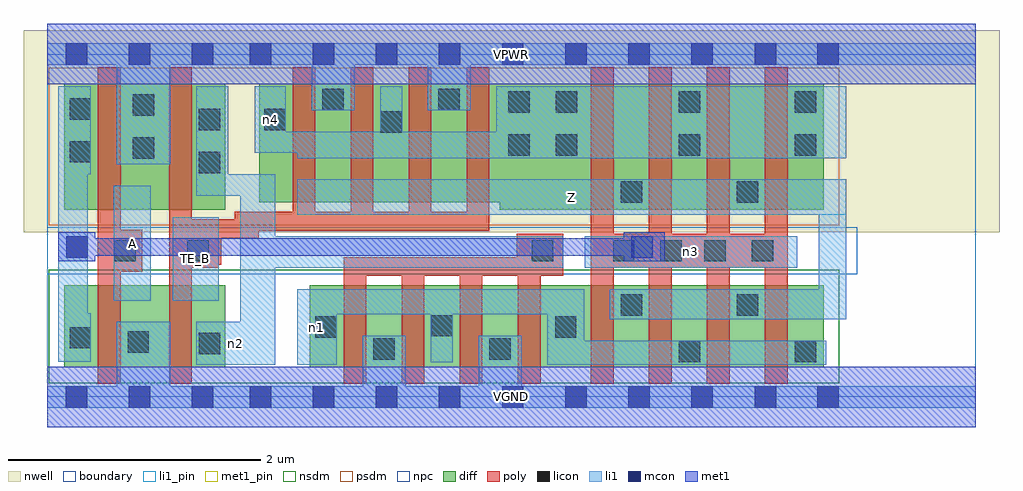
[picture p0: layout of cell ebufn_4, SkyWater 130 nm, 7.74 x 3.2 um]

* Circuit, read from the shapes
.subckt ebufn_4 A TE_B VGND VPWR Z n1 n2 n3 n4
XM1 VGND A n3 VSUBS sky130_fd_pr__nfet_01v8 w=0.65 l=0.18
XM2 n2 TE_B VGND VSUBS sky130_fd_pr__nfet_01v8 w=0.65 l=0.18
XM3 VGND n2 n1 VSUBS sky130_fd_pr__nfet_01v8 w=0.65 l=0.18 m=4
XM4 Z n3 n1 VSUBS sky130_fd_pr__nfet_01v8 w=0.65 l=0.18 m=4
XM5 VPWR A n3 n5 sky130_fd_pr__pfet_01v8 w=1 l=0.18
XM6 n2 TE_B VPWR n5 sky130_fd_pr__pfet_01v8 w=1 l=0.18
XM7 VPWR TE_B n4 n5 sky130_fd_pr__pfet_01v8 w=0.94 l=0.18 m=4
XM8 Z n3 n4 n5 sky130_fd_pr__pfet_01v8 w=1 l=0.18 m=4
.ends

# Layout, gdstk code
import gdstk
lib = gdstk.Library(unit=1e-6, precision=1e-09)
def R(c, l, rs):  # rectangles x0, y0, x1, y1
    for r in rs: c.add(gdstk.rectangle(r[:2], r[2:], *l))
def A(c, l, x, y, w, h, nx, ny, dx, dy):  # array of equal rectangles
    R(c, l, [(x+i*dx, y+j*dy, x+i*dx+w, y+j*dy+h) for i in range(nx) for j in range(ny)])
nwell = (64, 20)
diff = (65, 20)
poly = (66, 20)
licon = (66, 44)
li1_pin = (67, 16)
li1 = (67, 20)
mcon = (67, 44)
met1_pin = (68, 16)
met1 = (68, 20)
nsdm = (93, 44)
psdm = (94, 20)
npc = (95, 20)
boundary = (235, 4)

ebufn_4 = lib.new_cell('ebufn_4')
R(ebufn_4, nwell, [(-0.19,1.305,7.55,2.91), (0,1.305,7.36,2.91)])
R(ebufn_4, diff, [(0.135,0.235,1.41,0.885), (2.08,0.235,6.155,0.885), (0.135,1.485,1.41,2.485), (3.585,1.485,6.155,2.485), (1.68,1.545,6.155,2.485)])
A(ebufn_4, poly, 2.35, 0.105, 0.18, 1.005, 3, 1, 0.46, 0)
A(ebufn_4, poly, 4.31, 0.105, 0.18, 2.51, 4, 1, 0.46, 0)
A(ebufn_4, poly, 1.945, 1.32, 0.18, 1.295, 4, 1, 0.46, 0)
R(ebufn_4, poly, [(0.4,0.105,0.58,2.615), (0.965,0.105,1.145,2.615), (3.73,0.105,3.91,1.295), (2.35,0.96,4.09,1.11), (3.72,0.96,4.09,1.295), (0.4,0.995,0.75,1.325), (0.965,1.025,1.36,1.41), (4.31,1.025,5.87,1.295), (0.965,1.05,1.38,1.41), (0.965,1.26,1.675,1.41), (1.485,1.32,3.505,1.47)])
R(ebufn_4, licon, [(5.005,0.275,5.175,0.445), (5.925,0.275,6.095,0.445), (2.585,0.295,2.755,0.465), (3.505,0.295,3.675,0.465), (1.2,0.34,1.37,0.51), (0.635,0.35,0.805,0.52), (0.175,0.385,0.345,0.555), (2.125,0.47,2.295,0.64), (4.025,0.47,4.195,0.64), (3.045,0.48,3.215,0.65), (4.545,0.645,4.715,0.815), (5.465,0.645,5.635,0.815), (0.53,1.075,0.7,1.245), (1.11,1.075,1.28,1.245), (3.84,1.075,4.01,1.245), (4.485,1.075,4.655,1.245), (4.86,1.075,5.03,1.245), (5.21,1.075,5.38,1.245), (5.585,1.075,5.755,1.245), (4.545,1.54,4.715,1.71), (5.465,1.54,5.635,1.71), (1.2,1.775,1.37,1.945), (0.175,1.86,0.345,2.03), (0.675,1.89,0.845,2.06), (3.655,1.915,3.825,2.085), (4.03,1.915,4.2,2.085), (5.005,1.915,5.175,2.085), (5.925,1.915,6.095,2.085), (2.64,2.095,2.81,2.265), (1.2,2.115,1.37,2.285), (1.72,2.115,1.89,2.285), (0.175,2.2,0.345,2.37), (0.675,2.23,0.845,2.4), (3.655,2.255,3.825,2.425), (4.03,2.255,4.2,2.425), (5.005,2.255,5.175,2.425), (5.925,2.255,6.095,2.425), (2.18,2.275,2.35,2.445), (3.1,2.275,3.27,2.445)])
R(ebufn_4, li1_pin, [(0.525,0.765,0.82,1.675), (0.995,0.765,1.36,1.425), (1.98,1.445,6.335,1.725)])
R(ebufn_4, li1, [(0,-0.085,7.36,0.085), (0.55,-0.085,0.975,0.595), (2.5,-0.085,2.84,0.485), (3.42,-0.085,3.76,0.485), (1.18,0.255,1.805,0.595), (1.53,0.255,1.805,1.765), (1.98,0.255,2.295,0.855), (3.965,0.255,6.175,0.445), (3.965,0.255,4.255,0.855), (3.04,0.275,3.215,0.855), (0.085,0.28,0.32,2.465), (0.085,0.28,0.345,0.665), (4.46,0.615,6.335,0.855), (6.115,0.615,6.335,1.725), (1.98,0.655,4.255,0.855), (0.525,0.765,0.82,1.675), (0.995,0.765,1.36,1.425), (1.53,1.025,4.09,1.275), (4.26,1.025,5.945,1.275), (1.98,1.445,6.335,1.725), (1.18,1.595,1.435,2.465), (1.18,1.595,1.805,1.765), (0.085,1.765,0.345,2.465), (0.55,1.845,0.975,2.805), (1.98,1.895,6.335,2.105), (2.64,1.895,2.815,2.465), (3.56,1.895,6.335,2.465), (1.645,1.935,1.89,2.465), (1.645,1.935,6.335,2.105), (2.095,2.275,2.435,2.805), (3.015,2.275,3.355,2.805), (0,2.635,7.36,2.805)])
A(ebufn_4, mcon, 0.145, -0.085, 0.17, 0.17, 3, 2, 0.5, 2.72)
A(ebufn_4, mcon, 1.605, -0.085, 0.17, 0.17, 8, 2, 0.5, 2.72)
R(ebufn_4, mcon, [(5.61,-0.085,5.78,0.085), (6.105,-0.085,6.275,0.085), (0.15,1.105,0.32,1.275), (4.63,1.105,4.8,1.275), (5.61,2.635,5.78,2.805), (6.105,2.635,6.275,2.805)])
R(ebufn_4, met1_pin, [(0,-0.24,7.36,0.24), (0,2.48,7.36,2.96)])
R(ebufn_4, met1, [(0,-0.24,7.36,0.24), (0.085,1.075,0.38,1.305), (4.57,1.075,4.895,1.305), (0.085,1.12,4.895,1.26), (0,2.48,7.36,2.96)])
R(ebufn_4, nsdm, [(0.01,0.11,6.28,1.01)])
R(ebufn_4, psdm, [(0.01,1.36,6.28,2.61)])
R(ebufn_4, npc, [(0,0.975,6.42,1.345)])
R(ebufn_4, boundary, [(0,0,7.36,2.72)])
ebufn_4.add(gdstk.Label('A', (0.672,1.22), layer=67, texttype=5))
ebufn_4.add(gdstk.Label('TE_B', (1.177,1.095), layer=67, texttype=5))
ebufn_4.add(gdstk.Label('Z', (4.157,1.585), layer=67, texttype=5))
ebufn_4.add(gdstk.Label('n1', (2.137,0.555), layer=67, texttype=5))
ebufn_4.add(gdstk.Label('n3', (5.102,1.15), layer=67, texttype=5))
ebufn_4.add(gdstk.Label('n2', (1.492,0.425), layer=67, texttype=5))
ebufn_4.add(gdstk.Label('n4', (1.767,2.2), layer=67, texttype=5))
ebufn_4.add(gdstk.Label('VPWR', (3.68,2.72), layer=68, texttype=5))
ebufn_4.add(gdstk.Label('VGND', (3.68,0), layer=68, texttype=5))
ebufn_4.add(gdstk.Label('A', (0.672,1.22), layer=67, texttype=16))
ebufn_4.add(gdstk.Label('TE_B', (1.177,1.095), layer=67, texttype=16))
ebufn_4.add(gdstk.Label('Z', (4.157,1.585), layer=67, texttype=16))
ebufn_4.add(gdstk.Label('VPWR', (3.68,2.72), layer=68, texttype=16))
ebufn_4.add(gdstk.Label('VGND', (3.68,0), layer=68, texttype=16))

lib.write_gds('ebufn_4.gds')
